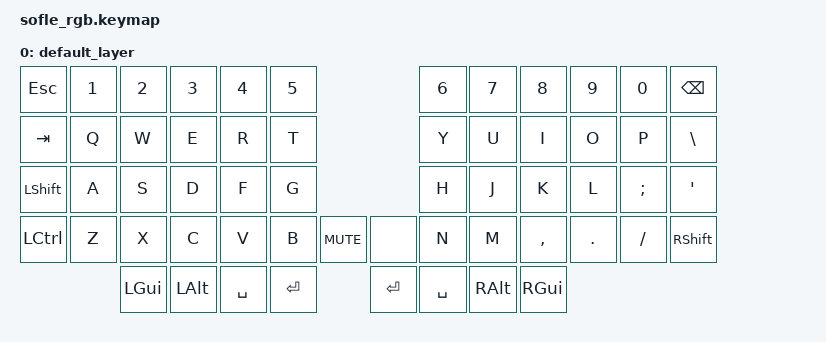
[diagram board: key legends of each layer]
/*
 * Mapa de Teclas Básico para Sofle RGB v1
 */

#include <behaviors.dtsi>
#include <dt-bindings/zmk/keys.h>
#include <dt-bindings/zmk/bt.h>
#include <dt-bindings/zmk/outputs.h>

/ {
    keymap {
        compatible = "zmk,keymap";

        default_layer {
            bindings = <
&kp ESC   &kp N1 &kp N2 &kp N3 &kp N4 &kp N5                     &kp N6 &kp N7 &kp N8    &kp N9   &kp N0   &kp BSPC
&kp TAB   &kp Q  &kp W  &kp E  &kp R  &kp T                      &kp Y  &kp U  &kp I     &kp O    &kp P    &kp BSLH
&kp LSHFT &kp A  &kp S  &kp D  &kp F  &kp G                      &kp H  &kp J  &kp K     &kp L    &kp SEMI &kp SQT
&kp LCTRL &kp Z  &kp X  &kp C  &kp V  &kp B  &kp C_MUTE &none    &kp N  &kp M  &kp COMMA &kp DOT  &kp FSLH &kp RSHFT
                 &kp LGUI &kp LALT &kp SPACE &kp RET    &kp RET  &kp SPACE &kp RALT &kp RGUI
            >;
        };
    };
};
